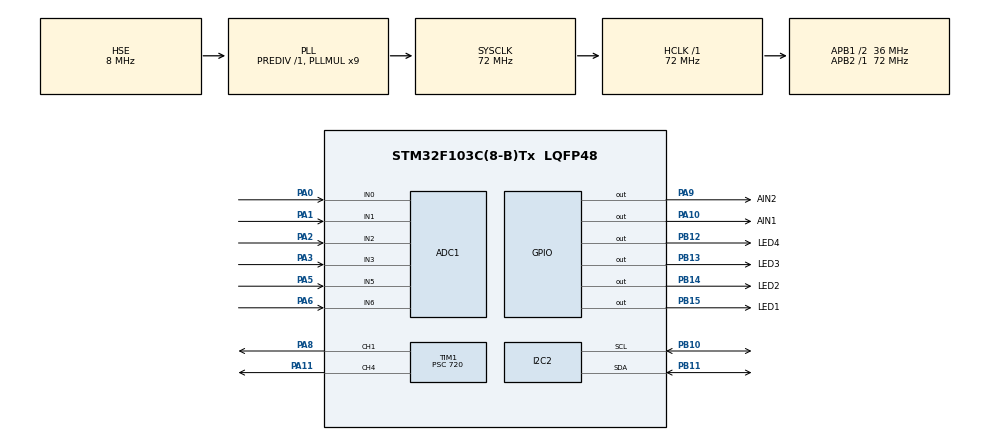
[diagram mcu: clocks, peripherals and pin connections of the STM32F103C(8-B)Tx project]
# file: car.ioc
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ADC1.Channel-10\#ChannelRegularConversion=ADC_CHANNEL_6
ADC1.Channel-5\#ChannelRegularConversion=ADC_CHANNEL_0
ADC1.Channel-6\#ChannelRegularConversion=ADC_CHANNEL_1
ADC1.Channel-7\#ChannelRegularConversion=ADC_CHANNEL_2
ADC1.Channel-8\#ChannelRegularConversion=ADC_CHANNEL_3
ADC1.Channel-9\#ChannelRegularConversion=ADC_CHANNEL_5
ADC1.DiscontinuousConvMode=ENABLE
ADC1.NbrOfConversion=6
ADC1.NbrOfConversionFlag=1
ADC1.Rank-10\#ChannelRegularConversion=6
ADC1.Rank-5\#ChannelRegularConversion=1
ADC1.Rank-6\#ChannelRegularConversion=2
ADC1.Rank-7\#ChannelRegularConversion=3
ADC1.Rank-8\#ChannelRegularConversion=4
ADC1.Rank-9\#ChannelRegularConversion=5
ADC1.SamplingTime-10\#ChannelRegularConversion=ADC_SAMPLETIME_1CYCLE_5
ADC1.SamplingTime-5\#ChannelRegularConversion=ADC_SAMPLETIME_1CYCLE_5
ADC1.SamplingTime-6\#ChannelRegularConversion=ADC_SAMPLETIME_1CYCLE_5
ADC1.SamplingTime-7\#ChannelRegularConversion=ADC_SAMPLETIME_1CYCLE_5
ADC1.SamplingTime-8\#ChannelRegularConversion=ADC_SAMPLETIME_1CYCLE_5
ADC1.SamplingTime-9\#ChannelRegularConversion=ADC_SAMPLETIME_1CYCLE_5
ADC1.master=1
Mcu.Family=STM32F1
Mcu.Name=STM32F103C(8-B)Tx
Mcu.Package=LQFP48
NVIC.PriorityGroup=NVIC_PRIORITYGROUP_4
PA0-WKUP.Signal=ADCx_IN0
PA1.Signal=ADCx_IN1
PA10.GPIO_Label=AIN1
PA10.Signal=GPIO_Output
PA11.Signal=S_TIM1_CH4
PA13.Mode=Serial_Wire
PA13.Signal=SYS_JTMS-SWDIO
PA14.Mode=Serial_Wire
PA14.Signal=SYS_JTCK-SWCLK
PA2.Signal=ADCx_IN2
PA3.Signal=ADCx_IN3
PA5.Signal=ADCx_IN5
PA6.Signal=ADCx_IN6
PA8.GPIO_ModeDefaultPP=GPIO_MODE_AF_PP
PA8.Signal=S_TIM1_CH1
PA9.GPIO_Label=AIN2
PA9.Signal=GPIO_Output
PB10.Mode=I2C
PB10.Signal=I2C2_SCL
PB11.Mode=I2C
PB11.Signal=I2C2_SDA
PB12.GPIO_Label=LED4
PB12.GPIO_PuPd=GPIO_PULLDOWN
PB12.Signal=GPIO_Output
PB13.GPIO_Label=LED3
PB13.GPIO_PuPd=GPIO_PULLDOWN
PB13.Signal=GPIO_Output
PB14.GPIO_Label=LED2
PB14.GPIO_PuPd=GPIO_PULLDOWN
PB14.Signal=GPIO_Output
PB15.GPIO_Label=LED1
PB15.GPIO_PuPd=GPIO_PULLDOWN
PB15.Signal=GPIO_Output
PC14-OSC32_IN.Mode=LSE-External-Oscillator
PC14-OSC32_IN.Signal=RCC_OSC32_IN
PC15-OSC32_OUT.Mode=LSE-External-Oscillator
PC15-OSC32_OUT.Signal=RCC_OSC32_OUT
PD0-OSC_IN.Mode=HSE-External-Oscillator
PD0-OSC_IN.Signal=RCC_OSC_IN
PD1-OSC_OUT.Mode=HSE-External-Oscillator
PD1-OSC_OUT.Signal=RCC_OSC_OUT
ProjectManager.HeapSize=0x200
ProjectManager.StackSize=0x400
ProjectManager.TargetToolchain=MDK-ARM V5.32
RCC.ADCPresc=RCC_ADCPCLK2_DIV6
RCC.AHBFreq_Value=72000000
RCC.APB1CLKDivider=RCC_HCLK_DIV2
RCC.APB1Freq_Value=36000000
RCC.APB1TimFreq_Value=72000000
RCC.APB2Freq_Value=72000000
RCC.APB2TimFreq_Value=72000000
RCC.HCLKFreq_Value=72000000
RCC.PLLMUL=RCC_PLL_MUL9
RCC.PLLSourceVirtual=RCC_PLLSOURCE_HSE
RCC.SYSCLKFreq_VALUE=72000000
RCC.SYSCLKSource=RCC_SYSCLKSOURCE_PLLCLK
RCC.USBFreq_Value=72000000
SH.ADCx_IN0.0=ADC1_IN0,IN0
SH.ADCx_IN1.0=ADC1_IN1,IN1
SH.ADCx_IN2.0=ADC1_IN2,IN2
SH.ADCx_IN3.0=ADC1_IN3,IN3
SH.ADCx_IN5.0=ADC1_IN5,IN5
SH.ADCx_IN6.0=ADC1_IN6,IN6
SH.S_TIM1_CH1.0=TIM1_CH1,PWM Generation1 CH1
SH.S_TIM1_CH4.0=TIM1_CH4,PWM Generation4 CH4
TIM1.Channel-PWM\ Generation1\ CH1=TIM_CHANNEL_1
TIM1.Channel-PWM\ Generation4\ CH4=TIM_CHANNEL_4
TIM1.Period=500
TIM1.Prescaler=720
TIM3.Period=99
TIM3.Prescaler=7199
TIM4.Period=500
TIM4.Prescaler=729
VP_TIM3_VS_ClockSourceINT.Mode=Internal
VP_TIM4_VS_ClockSourceINT.Mode=Internal
board=custom

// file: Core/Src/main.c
/* USER CODE BEGIN Header */
/**
  ******************************************************************************
  * @file           : main.c
  * @brief          : Main program body
  ******************************************************************************
  * @attention
  *
  * Copyright (c) 2024 STMicroelectronics.
  * All rights reserved.
  *
  * This software is licensed under terms that can be found in the LICENSE file
  * in the root directory of this software component.
  * If no LICENSE file comes with this software, it is provided AS-IS.
  *
  ******************************************************************************
  */
/* USER CODE END Header */
#include "main.h"
#include "adc.h"
#include "i2c.h"
#include "tim.h"
#include "gpio.h"

/* USER CODE BEGIN Includes */
#include "OLED.h"
#include "motor.h"
/* USER CODE END Includes */

void SystemClock_Config(void);

/* USER CODE BEGIN 0 */
#define NUM 6
extern float lh;
extern float rh;
extern float mh;
extern float rf;
extern float lf;
extern float ADC[NUM];
extern int motorstatus;
/* USER CODE END 0 */

int main(void)
{

  /* MCU Configuration--------------------------------------------------------*/

  /* Reset of all peripherals, Initializes the Flash interface and the Systick. */
  HAL_Init();

  /* USER CODE BEGIN Init */
  MX_I2C2_Init();
  OLED_Init();

  /* USER CODE END Init */

  /* Configure the system clock */
  SystemClock_Config();

  /* Initialize all configured peripherals */
  MX_GPIO_Init();
  MX_ADC1_Init();
  MX_TIM3_Init();
  MX_TIM1_Init();
  MX_I2C2_Init();
  MX_TIM4_Init();
  /* USER CODE BEGIN 2 */
  motor_init();
  HAL_ADC_Init(&hadc1);
  /* USER CODE END 2 */

  /* Infinite loop */
  while (1)
  {

    /* USER CODE BEGIN 3 */
	 get_adc();

	  OLED_Printf(0, 0, OLED_6X8, "RV=%.2f ",ADC[0]);
	  OLED_Printf(65, 0, OLED_6X8, "LH=%.2f",ADC[1]);
	  OLED_Printf(0, 20, OLED_6X8, "RH=%.2f",ADC[2]);
      OLED_Printf(65, 20, OLED_6X8, "LV=%.2f",ADC[3]);
	  OLED_Printf(0, 40, OLED_6X8, "MH=%.2f",ADC[4]);
	  OLED_Printf(65, 40, OLED_6X8, "MS=%.2f",ADC[5]);
		 OLED_Update();
	  HAL_Delay(100);
	  //car_control();*/
	  //car_run();

  }
  /* USER CODE END 3 */
}

void SystemClock_Config(void)
{
  RCC_OscInitTypeDef RCC_OscInitStruct = {0};
  RCC_ClkInitTypeDef RCC_ClkInitStruct = {0};
  RCC_PeriphCLKInitTypeDef PeriphClkInit = {0};

  /** Initializes the RCC Oscillators according to the specified parameters
  * in the RCC_OscInitTypeDef structure.
  */
  RCC_OscInitStruct.OscillatorType = RCC_OSCILLATORTYPE_HSE;
  RCC_OscInitStruct.HSEState = RCC_HSE_ON;
  RCC_OscInitStruct.HSEPredivValue = RCC_HSE_PREDIV_DIV1;
  RCC_OscInitStruct.HSIState = RCC_HSI_ON;
  RCC_OscInitStruct.PLL.PLLState = RCC_PLL_ON;
  RCC_OscInitStruct.PLL.PLLSource = RCC_PLLSOURCE_HSE;
  RCC_OscInitStruct.PLL.PLLMUL = RCC_PLL_MUL9;
  if (HAL_RCC_OscConfig(&RCC_OscInitStruct) != HAL_OK)
  {
    Error_Handler();
  }

  /** Initializes the CPU, AHB and APB buses clocks
  */
  RCC_ClkInitStruct.ClockType = RCC_CLOCKTYPE_HCLK|RCC_CLOCKTYPE_SYSCLK
                              |RCC_CLOCKTYPE_PCLK1|RCC_CLOCKTYPE_PCLK2;
  RCC_ClkInitStruct.SYSCLKSource = RCC_SYSCLKSOURCE_PLLCLK;
  RCC_ClkInitStruct.AHBCLKDivider = RCC_SYSCLK_DIV1;
  RCC_ClkInitStruct.APB1CLKDivider = RCC_HCLK_DIV2;
  RCC_ClkInitStruct.APB2CLKDivider = RCC_HCLK_DIV1;

  if (HAL_RCC_ClockConfig(&RCC_ClkInitStruct, FLASH_LATENCY_2) != HAL_OK)
  {
    Error_Handler();
  }
  PeriphClkInit.PeriphClockSelection = RCC_PERIPHCLK_ADC;
  PeriphClkInit.AdcClockSelection = RCC_ADCPCLK2_DIV6;
  if (HAL_RCCEx_PeriphCLKConfig(&PeriphClkInit) != HAL_OK)
  {
    Error_Handler();
  }
}

void Error_Handler(void)
{
  __disable_irq();
  while (1)
  {
  }
}
